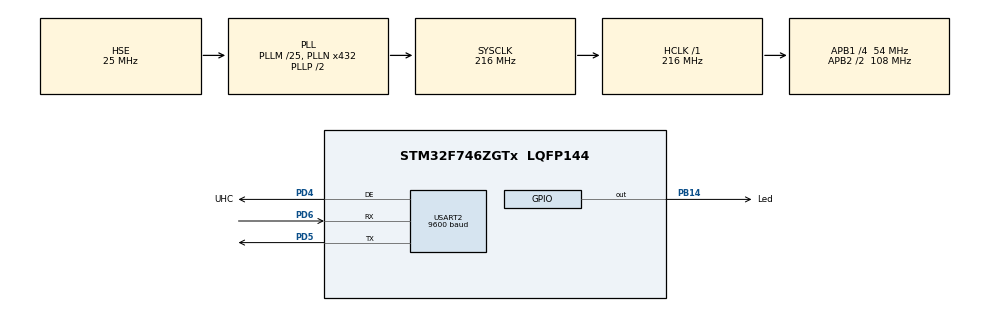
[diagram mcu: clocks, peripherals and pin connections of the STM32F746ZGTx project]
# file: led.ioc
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Mcu.Family=STM32F7
Mcu.Name=STM32F746ZGTx
Mcu.Package=LQFP144
NVIC.PriorityGroup=NVIC_PRIORITYGROUP_4
NVIC.TIM1_UP_TIM10_IRQn=true\:0\:0\:false\:false\:true\:true
NVIC.USART2_IRQn=true\:0\:0\:false\:false\:true\:true
PA13.Mode=Serial_Wire
PA13.Signal=SYS_JTMS-SWDIO
PA14.Mode=Serial_Wire
PA14.Signal=SYS_JTCK-SWCLK
PB14.GPIO_Label=Led
PB14.Signal=GPIO_Output
PD4.GPIO_Label=UHC
PD4.Mode=Hardware Flow Control (RS485)
PD4.Signal=USART2_DE
PD5.Mode=Asynchronous
PD5.Signal=USART2_TX
PD6.Mode=Asynchronous
PD6.Signal=USART2_RX
PH0/OSC_IN.Mode=HSE-External-Oscillator
PH0/OSC_IN.Signal=RCC_OSC_IN
PH1/OSC_OUT.Mode=HSE-External-Oscillator
PH1/OSC_OUT.Signal=RCC_OSC_OUT
ProjectManager.HeapSize=0x200
ProjectManager.StackSize=0x400
ProjectManager.TargetToolchain=SW4STM32
RCC.AHBFreq_Value=216000000
RCC.APB1CLKDivider=RCC_HCLK_DIV4
RCC.APB1Freq_Value=54000000
RCC.APB1TimFreq_Value=108000000
RCC.APB2CLKDivider=RCC_HCLK_DIV2
RCC.APB2Freq_Value=108000000
RCC.APB2TimFreq_Value=216000000
RCC.CortexFreq_Value=216000000
RCC.HCLKFreq_Value=216000000
RCC.HSE_VALUE=25000000
RCC.HSI_VALUE=16000000
RCC.LSE_VALUE=32768
RCC.PLLM=25
RCC.PLLN=432
RCC.PLLSourceVirtual=RCC_PLLSOURCE_HSE
RCC.SYSCLKFreq_VALUE=216000000
RCC.SYSCLKSource=RCC_SYSCLKSOURCE_PLLCLK
RCC.USBFreq_Value=216000000
RCC.VCOOutputFreq_Value=432000000
TIM1.Period=1999
TIM1.Prescaler=53999
USART2.BaudRate=9600
USART2.VirtualMode-Asynchronous=VM_ASYNC
USART2.VirtualMode-Hardware\ Flow\ Control\ (RS485)=VM_ASYNC
USART2.WordLength=WORDLENGTH_8B
VP_TIM1_VS_ClockSourceINT.Mode=Internal
board=led

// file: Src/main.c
/**
  ******************************************************************************
  * @file           : main.c
  * @brief          : Main program body
  ******************************************************************************
  ** This notice applies to any and all portions of this file
  * that are not between comment pairs USER CODE BEGIN and
  * USER CODE END. Other portions of this file, whether
  * inserted by the user or by software development tools
  * are owned by their respective copyright owners.
  *
  * COPYRIGHT(c) 2018 STMicroelectronics
  *
  * Redistribution and use in source and binary forms, with or without modification,
  * are permitted provided that the following conditions are met:
  *   1. Redistributions of source code must retain the above copyright notice,
  *      this list of conditions and the following disclaimer.
  *   2. Redistributions in binary form must reproduce the above copyright notice,
  *      this list of conditions and the following disclaimer in the documentation
  *      and/or other materials provided with the distribution.
  *   3. Neither the name of STMicroelectronics nor the names of its contributors
  *      may be used to endorse or promote products derived from this software
  *      without specific prior written permission.
  *
  * THIS SOFTWARE IS PROVIDED BY THE COPYRIGHT HOLDERS AND CONTRIBUTORS "AS IS"
  * AND ANY EXPRESS OR IMPLIED WARRANTIES, INCLUDING, BUT NOT LIMITED TO, THE
  * IMPLIED WARRANTIES OF MERCHANTABILITY AND FITNESS FOR A PARTICULAR PURPOSE ARE
  * DISCLAIMED. IN NO EVENT SHALL THE COPYRIGHT HOLDER OR CONTRIBUTORS BE LIABLE
  * FOR ANY DIRECT, INDIRECT, INCIDENTAL, SPECIAL, EXEMPLARY, OR CONSEQUENTIAL
  * DAMAGES (INCLUDING, BUT NOT LIMITED TO, PROCUREMENT OF SUBSTITUTE GOODS OR
  * SERVICES; LOSS OF USE, DATA, OR PROFITS; OR BUSINESS INTERRUPTION) HOWEVER
  * CAUSED AND ON ANY THEORY OF LIABILITY, WHETHER IN CONTRACT, STRICT LIABILITY,
  * OR TORT (INCLUDING NEGLIGENCE OR OTHERWISE) ARISING IN ANY WAY OUT OF THE USE
  * OF THIS SOFTWARE, EVEN IF ADVISED OF THE POSSIBILITY OF SUCH DAMAGE.
  *
  ******************************************************************************
  */
#include "main.h"
#include "stm32f7xx_hal.h"

/* USER CODE BEGIN Includes */
#include "inttypes.h"
#include "stdio.h"
/* USER CODE END Includes */

TIM_HandleTypeDef htim1;

UART_HandleTypeDef huart2;

/* USER CODE BEGIN PV */
/* Private variables ---------------------------------------------------------*/
uint8_t cmd1[] = "#010+10.000"; // Make 10 amps
uint8_t cmd2[] = "#010+01.000"; // Make 1 amp
uint8_t report[] = "0"; // For message recieve
/* USER CODE END PV */

void SystemClock_Config(void);
static void MX_GPIO_Init(void);
static void MX_TIM1_Init(void);
static void MX_USART2_UART_Init(void);

/* USER CODE BEGIN PFP */
/* Private function prototypes -----------------------------------------------*/
extern void initialise_monitor_handles(void);
/* USER CODE END PFP */

/* USER CODE BEGIN 0 */
void HAL_TIM_PeriodElapsedCallback(TIM_HandleTypeDef *htim) // Working during interruption
{
	if (htim->Instance==TIM1) //check if the interrupt comes from TIM1
	{
		HAL_GPIO_TogglePin(Led_GPIO_Port, Led_Pin); // Blink

		if (HAL_UART_Transmit(&huart2, cmd2, 11, 0xFFFF) == HAL_OK)
		{
			printf((char*)cmd2);
			printf("\n");
		}
		else
			printf("error during interruption\n");
	}
}

/* USER CODE END 0 */

int main(void)
{

  /* MCU Configuration----------------------------------------------------------*/

  /* Reset of all peripherals, Initializes the Flash interface and the Systick. */
  HAL_Init();

  /* Configure the system clock */
  SystemClock_Config();

  /* Initialize all configured peripherals */
  MX_GPIO_Init();
  MX_TIM1_Init();
  MX_USART2_UART_Init();
  /* USER CODE BEGIN 2 */
  initialise_monitor_handles(); // Turn on debug messages
  HAL_TIM_Base_Start_IT(&htim1); // Turn on 1s period interruption
  printf("started\n");
  /* USER CODE END 2 */

  /* Infinite loop */
  /* USER CODE BEGIN WHILE */
  while (1)
  {
	  HAL_GPIO_WritePin(GPIOD, UHC_Pin, GPIO_PIN_SET);
	  //printf("%d\n", UHC_Pin);
	  if(HAL_UART_Transmit(&huart2, cmd1, 11, 0xFFFF) == HAL_OK)
	  {
		  printf((char*)cmd1);
		  printf("\n");
	  }
	  else
		  printf("error during transmit\n");

	  HAL_GPIO_WritePin(GPIOD, UHC_Pin, GPIO_PIN_RESET);
	  //printf("%d\n", UHC_Pin);
	  if(HAL_UART_Receive(&huart2, report, 8, 0xFFFF) == HAL_OK)
	  {
		  printf((char*)report);
		  printf("\n");
	  }
	  else
		  printf("error during recieve\n");
  /* USER CODE END WHILE */

  }

}

void SystemClock_Config(void)
{

  RCC_OscInitTypeDef RCC_OscInitStruct;
  RCC_ClkInitTypeDef RCC_ClkInitStruct;
  RCC_PeriphCLKInitTypeDef PeriphClkInitStruct;

    /**Configure the main internal regulator output voltage
    */
  __HAL_RCC_PWR_CLK_ENABLE();

  __HAL_PWR_VOLTAGESCALING_CONFIG(PWR_REGULATOR_VOLTAGE_SCALE1);

    /**Initializes the CPU, AHB and APB busses clocks
    */
  RCC_OscInitStruct.OscillatorType = RCC_OSCILLATORTYPE_HSE;
  RCC_OscInitStruct.HSEState = RCC_HSE_ON;
  RCC_OscInitStruct.PLL.PLLState = RCC_PLL_ON;
  RCC_OscInitStruct.PLL.PLLSource = RCC_PLLSOURCE_HSE;
  RCC_OscInitStruct.PLL.PLLM = 25;
  RCC_OscInitStruct.PLL.PLLN = 432;
  RCC_OscInitStruct.PLL.PLLP = RCC_PLLP_DIV2;
  RCC_OscInitStruct.PLL.PLLQ = 2;
  if (HAL_RCC_OscConfig(&RCC_OscInitStruct) != HAL_OK)
  {
    _Error_Handler(__FILE__, __LINE__);
  }

    /**Activate the Over-Drive mode
    */
  if (HAL_PWREx_EnableOverDrive() != HAL_OK)
  {
    _Error_Handler(__FILE__, __LINE__);
  }

    /**Initializes the CPU, AHB and APB busses clocks
    */
  RCC_ClkInitStruct.ClockType = RCC_CLOCKTYPE_HCLK|RCC_CLOCKTYPE_SYSCLK
                              |RCC_CLOCKTYPE_PCLK1|RCC_CLOCKTYPE_PCLK2;
  RCC_ClkInitStruct.SYSCLKSource = RCC_SYSCLKSOURCE_PLLCLK;
  RCC_ClkInitStruct.AHBCLKDivider = RCC_SYSCLK_DIV1;
  RCC_ClkInitStruct.APB1CLKDivider = RCC_HCLK_DIV4;
  RCC_ClkInitStruct.APB2CLKDivider = RCC_HCLK_DIV2;

  if (HAL_RCC_ClockConfig(&RCC_ClkInitStruct, FLASH_LATENCY_7) != HAL_OK)
  {
    _Error_Handler(__FILE__, __LINE__);
  }

  PeriphClkInitStruct.PeriphClockSelection = RCC_PERIPHCLK_USART2;
  PeriphClkInitStruct.Usart2ClockSelection = RCC_USART2CLKSOURCE_PCLK1;
  if (HAL_RCCEx_PeriphCLKConfig(&PeriphClkInitStruct) != HAL_OK)
  {
    _Error_Handler(__FILE__, __LINE__);
  }

    /**Configure the Systick interrupt time
    */
  HAL_SYSTICK_Config(HAL_RCC_GetHCLKFreq()/1000);

    /**Configure the Systick
    */
  HAL_SYSTICK_CLKSourceConfig(SYSTICK_CLKSOURCE_HCLK);

  /* SysTick_IRQn interrupt configuration */
  HAL_NVIC_SetPriority(SysTick_IRQn, 0, 0);
}

/* TIM1 init function */
static void MX_TIM1_Init(void)
{

  TIM_ClockConfigTypeDef sClockSourceConfig;
  TIM_MasterConfigTypeDef sMasterConfig;

  htim1.Instance = TIM1;
  htim1.Init.Prescaler = 53999;
  htim1.Init.CounterMode = TIM_COUNTERMODE_UP;
  htim1.Init.Period = 1999;
  htim1.Init.ClockDivision = TIM_CLOCKDIVISION_DIV1;
  htim1.Init.RepetitionCounter = 0;
  htim1.Init.AutoReloadPreload = TIM_AUTORELOAD_PRELOAD_DISABLE;
  if (HAL_TIM_Base_Init(&htim1) != HAL_OK)
  {
    _Error_Handler(__FILE__, __LINE__);
  }

  sClockSourceConfig.ClockSource = TIM_CLOCKSOURCE_INTERNAL;
  if (HAL_TIM_ConfigClockSource(&htim1, &sClockSourceConfig) != HAL_OK)
  {
    _Error_Handler(__FILE__, __LINE__);
  }

  sMasterConfig.MasterOutputTrigger = TIM_TRGO_RESET;
  sMasterConfig.MasterOutputTrigger2 = TIM_TRGO2_RESET;
  sMasterConfig.MasterSlaveMode = TIM_MASTERSLAVEMODE_DISABLE;
  if (HAL_TIMEx_MasterConfigSynchronization(&htim1, &sMasterConfig) != HAL_OK)
  {
    _Error_Handler(__FILE__, __LINE__);
  }

}

/* USART2 init function */
static void MX_USART2_UART_Init(void)
{

  huart2.Instance = USART2;
  huart2.Init.BaudRate = 9600;
  huart2.Init.WordLength = UART_WORDLENGTH_8B;
  huart2.Init.StopBits = UART_STOPBITS_1;
  huart2.Init.Parity = UART_PARITY_NONE;
  huart2.Init.Mode = UART_MODE_TX_RX;
  huart2.Init.HwFlowCtl = UART_HWCONTROL_NONE;
  huart2.Init.OverSampling = UART_OVERSAMPLING_16;
  huart2.Init.OneBitSampling = UART_ONE_BIT_SAMPLE_DISABLE;
  huart2.AdvancedInit.AdvFeatureInit = UART_ADVFEATURE_NO_INIT;
  if (HAL_RS485Ex_Init(&huart2, UART_DE_POLARITY_HIGH, 0, 0) != HAL_OK)
  {
    _Error_Handler(__FILE__, __LINE__);
  }

}

/** Configure pins as
        * Analog
        * Input
        * Output
        * EVENT_OUT
        * EXTI
*/
static void MX_GPIO_Init(void)
{

  GPIO_InitTypeDef GPIO_InitStruct;

  /* GPIO Ports Clock Enable */
  __HAL_RCC_GPIOH_CLK_ENABLE();
  __HAL_RCC_GPIOB_CLK_ENABLE();
  __HAL_RCC_GPIOA_CLK_ENABLE();
  __HAL_RCC_GPIOD_CLK_ENABLE();

  /*Configure GPIO pin Output Level */
  HAL_GPIO_WritePin(Led_GPIO_Port, Led_Pin, GPIO_PIN_RESET);

  /*Configure GPIO pin : Led_Pin */
  GPIO_InitStruct.Pin = Led_Pin;
  GPIO_InitStruct.Mode = GPIO_MODE_OUTPUT_PP;
  GPIO_InitStruct.Pull = GPIO_NOPULL;
  GPIO_InitStruct.Speed = GPIO_SPEED_FREQ_LOW;
  HAL_GPIO_Init(Led_GPIO_Port, &GPIO_InitStruct);

}

void _Error_Handler(char *file, int line)
{
  while(1)
  {
  }
}

/************************ (C) COPYRIGHT STMicroelectronics *****END OF FILE****/
